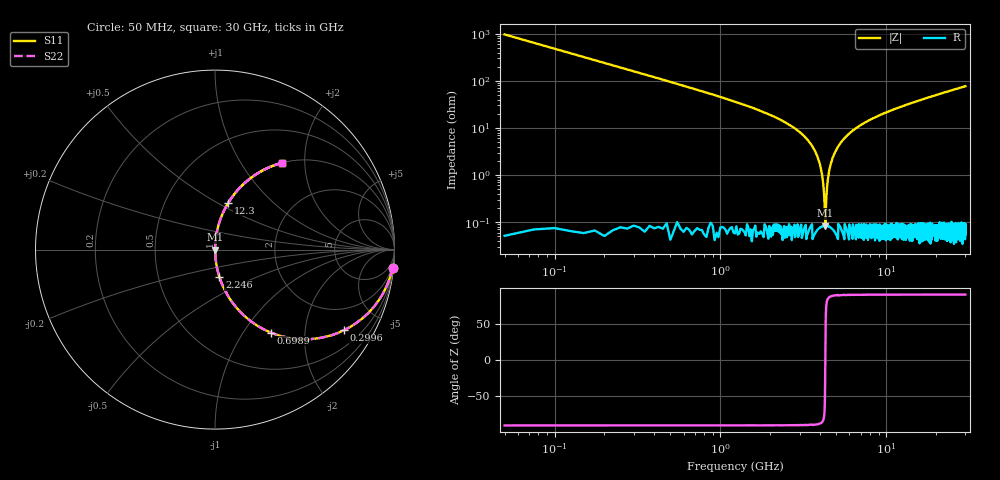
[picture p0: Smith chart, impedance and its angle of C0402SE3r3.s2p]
!	AVX Thin Film Operation 	Date: April 2014
!	Description: Accu-P® Series, Thin Film  SMD RF Capacitor
!	Part Number: 04025J3R3ABSTR
# MHZ S MA R 50
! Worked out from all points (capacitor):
!   1201 points, 50 MHz to 30 GHz, reference 50 ohm
!   read as one part in series: C = 3.3 pF near 199.8 MHz
!   lowest |Z| = 84.6 mohm at 4.293 GHz (marker M1)
!   series resonance near 4.29 GHz, so ESL is about 420 pH
!   S11 on the Smith chart (normalised r, x): 50 MHz: 1, -19; 299.6 MHz: 1.00, -3.20; 698.9 MHz: 1.00, -1.34; 2.246 GHz: 1.00, -0.31; 12.3 GHz: 1.00, +0.57; 30 GHz: 1.00, +1.54
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50  0.995 -5.9  0.103 84.1  0.103 84.1  0.995 -5.9
299.583  0.848 -32.0  0.529 58.0  0.529 58.0  0.848 -32.0
698.917  0.557 -56.1  0.83 33.9  0.83 33.9  0.557 -56.1
1248  0.333 -70.4  0.942 19.5  0.942 19.5  0.333 -70.4
2246.333  0.154 -80.9  0.987 8.9  0.987 8.9  0.154 -80.9
3144.833  0.071 -85.4  0.997 4.1  0.997 4.1  0.071 -85.4
3693.917  0.034 -86.9  0.999 1.9  0.999 1.9  0.034 -86.9
3993.417  0.016 -86.7  0.999 0.9  0.999 0.9  0.016 -86.7
4193.083  0.005197 -82.3  0.999 0.3  0.999 0.3  0.005197 -82.3
4292.917  0.0006829 11.2  0.999 -0.0  0.999 -0.0  0.0006829 11.2
4392.75  0.005341 82.5  0.999 -0.3  0.999 -0.3  0.005341 82.5
4517.542  0.012 86.0  0.999 -0.7  0.999 -0.7  0.012 86.0
4617.375  0.017 86.7  0.999 -0.9  0.999 -0.9  0.017 86.7
5041.667  0.036 86.9  0.999 -2.1  0.999 -2.1  0.036 86.9
5715.542  0.065 85.7  0.997 -3.7  0.997 -3.7  0.065 85.7
6763.792  0.105 83.6  0.994 -6.0  0.994 -6.0  0.105 83.6
10058.29  0.211 77.7  0.977 -12.2  0.977 -12.2  0.211 77.7
12304.54  0.272 74.1  0.962 -15.8  0.962 -15.8  0.272 74.1
15025  0.34 70.0  0.94 -19.9  0.94 -19.9  0.34 70.0
20016.67  0.447 63.4  0.894 -26.6  0.894 -26.6  0.447 63.4
25033.29  0.537 57.5  0.843 -32.5  0.843 -32.5  0.537 57.5
30000  0.61 52.4  0.792 -37.6  0.792 -37.6  0.61 52.4
